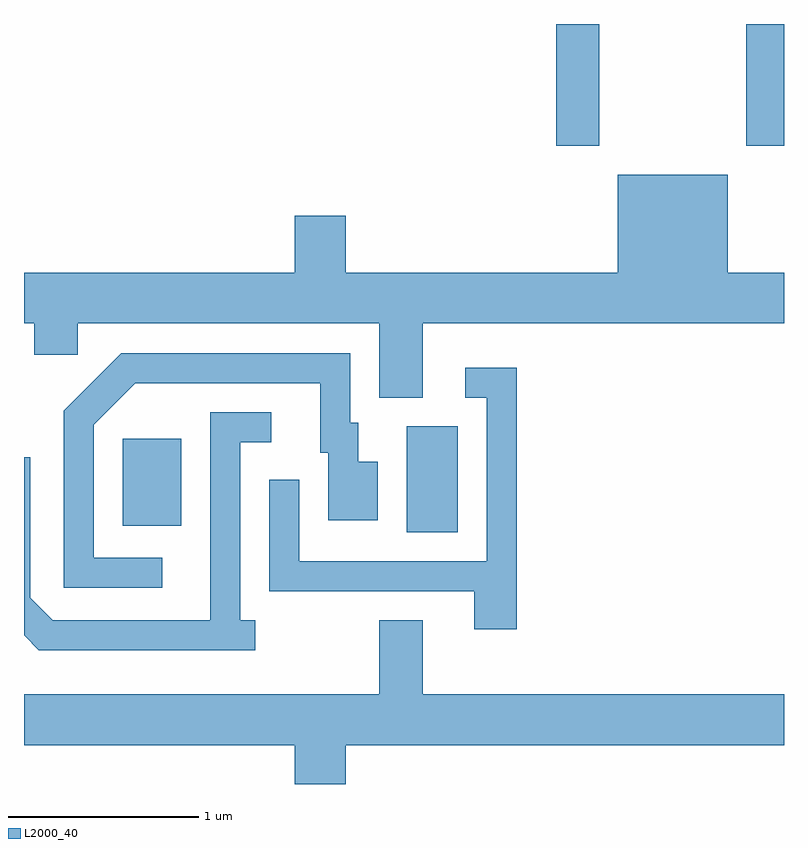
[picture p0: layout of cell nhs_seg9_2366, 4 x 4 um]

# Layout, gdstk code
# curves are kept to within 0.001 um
import gdstk
lib = gdstk.Library(unit=1e-6, precision=1e-09)
def R(c, l, rs):  # rectangles x0, y0, x1, y1
    for r in rs: c.add(gdstk.rectangle(r[:2], r[2:], *l))
def P(c, l, *ps):  # polygons
    for p in ps: c.add(gdstk.Polygon(p, *l))
L2000_40 = (2000, 40)

nhs_seg9_2366 = lib.new_cell('nhs_seg9_2366')
R(nhs_seg9_2366, L2000_40, [(255.626,2061.756,255.894,2062.314), (254.131,2061.791,254.439,2062.249), (256.411,2063.791,256.639,2064.432), (257.411,2063.791,257.611,2064.432)])
P(nhs_seg9_2366, L2000_40, [(255.304,2063.424),(255.036,2063.424),(255.036,2063.124),(253.611,2063.124),(253.611,2062.856),(253.666,2062.856),(253.666,2062.691),(253.894,2062.691),(253.894,2062.856),(255.481,2062.856),(255.481,2062.466),(255.709,2062.466),(255.709,2062.856),(257.611,2062.856),(257.611,2063.124),(257.314,2063.124),(257.314,2063.639),(256.736,2063.639),(256.736,2063.124),(255.304,2063.124)],
  [(254.338,2061.624),(253.979,2061.624),(253.979,2062.324),(254.197,2062.541),(255.171,2062.541),(255.171,2062.176),(255.211,2062.176),(255.211,2061.821),(255.474,2061.821),(255.474,2062.129),(255.369,2062.129),(255.369,2062.334),(255.329,2062.334),(255.329,2062.699),(254.124,2062.699),(253.821,2062.396),(253.821,2061.466),(254.338,2061.466)],
  [(256.204,2062.624),(255.933,2062.624),(255.933,2062.466),(256.046,2062.466),(256.046,2061.604),(255.059,2061.604),(255.059,2062.033),(254.901,2062.033),(254.901,2061.446),(255.981,2061.446),(255.981,2061.246),(256.204,2061.246)],
  [(254.828,2061.294),(254.749,2061.294),(254.749,2062.231),(254.913,2062.231),(254.913,2062.389),(254.591,2062.389),(254.591,2061.294),(253.762,2061.294),(253.644,2061.412),(253.644,2062.153),(253.611,2062.153),(253.611,2061.214),(253.689,2061.136),(254.828,2061.136)],
  [(255.304,2060.636),(257.611,2060.636),(257.611,2060.904),(255.709,2060.904),(255.709,2061.294),(255.481,2061.294),(255.481,2060.904),(253.611,2060.904),(253.611,2060.636),(255.036,2060.636),(255.036,2060.432),(255.304,2060.432)])

lib.write_gds('nhs_seg9_2366.gds')
